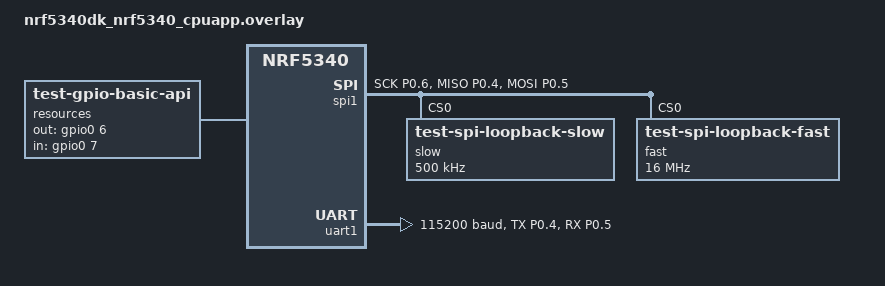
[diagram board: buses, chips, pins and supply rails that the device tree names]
/*
 * Copyright (c) 2026 Nordic Semiconductor ASA
 *
 * SPDX-License-Identifier: Apache-2.0
 */

&pinctrl {
	spi1_default: spi1_default {
		group1 {
			psels = <NRF_PSEL(SPIM_SCK, 0, 6)>,
				<NRF_PSEL(SPIM_MISO, 0, 4)>,
				<NRF_PSEL(SPIM_MOSI, 0, 5)>;
		};
	};

	spi1_sleep: spi1_sleep {
		group1 {
			psels = <NRF_PSEL(SPIM_SCK, 0, 6)>,
				<NRF_PSEL(SPIM_MISO, 0, 4)>,
				<NRF_PSEL(SPIM_MOSI, 0, 5)>;
			low-power-enable;
		};
	};
};

&spi1 {
	status = "okay";
	overrun-character = <0x00>;
	rx-delay = <1>;
	pinctrl-0 = <&spi1_default>;
	pinctrl-1 = <&spi1_sleep>;
	pinctrl-names = "default", "sleep";
	zephyr,pm-device-runtime-auto;

	slow@0 {
		compatible = "test-spi-loopback-slow";
		reg = <0>;
		spi-max-frequency = <500000>;
	};

	fast@0 {
		compatible = "test-spi-loopback-fast";
		reg = <0>;
		spi-max-frequency = <16000000>;
	};
};

&gpio0 {
	status = "okay";
};

#include "nordic,nrf-saadc-common.dtsi"

/ {
	resources {
		compatible = "test-gpio-basic-api";
		out-gpios = <&gpio0 6 0>;
		in-gpios = <&gpio0 7 0>;
	};
};

&pinctrl {
	uart1_default_alt: uart1_default_alt {
		group1 {
			psels = <NRF_PSEL(UART_TX, 0, 4)>,
				<NRF_PSEL(UART_RX, 0, 5)>;
		};
	};
	uart1_sleep_alt: uart1_sleep_alt {
		group1 {
			psels = <NRF_PSEL(UART_TX, 0, 4)>,
				<NRF_PSEL(UART_RX, 0, 5)>;
			low-power-enable;
		};
	};
};

&timer1 {
	status = "reserved";
};

dut: &uart1 {
	compatible = "nordic,nrf-uarte";
	current-speed = <115200>;
	status = "okay";
	pinctrl-0 = <&uart1_default_alt>;
	pinctrl-1 = <&uart1_sleep_alt>;
	pinctrl-names = "default", "sleep";
};
